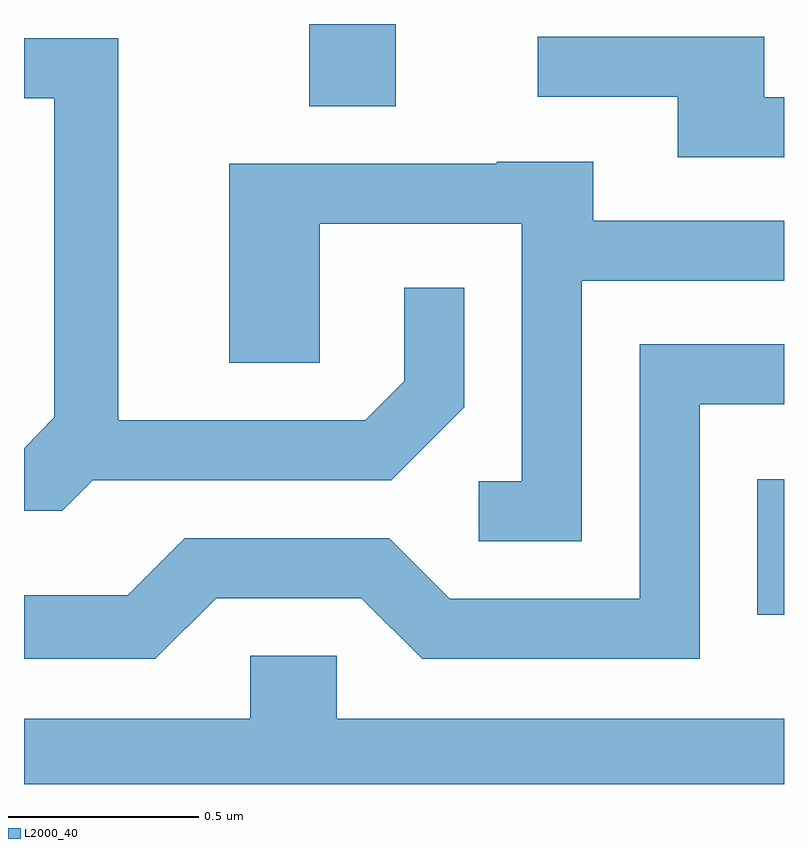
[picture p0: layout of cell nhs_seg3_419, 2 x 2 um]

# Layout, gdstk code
import gdstk
lib = gdstk.Library(unit=1e-6, precision=1e-09)
def R(c, l, rs):  # rectangles x0, y0, x1, y1
    for r in rs: c.add(gdstk.rectangle(r[:2], r[2:], *l))
def P(c, l, *ps):  # polygons
    for p in ps: c.add(gdstk.Polygon(p, *l))
L2000_40 = (2000, 40)

nhs_seg3_419 = lib.new_cell('nhs_seg3_419')
R(nhs_seg3_419, L2000_40, [(190.541,1124.338,190.611,1124.694), (189.361,1125.676,189.589,1125.892)])
P(nhs_seg3_419, L2000_40, [(190.611,1125.699),(190.559,1125.699),(190.559,1125.859),(189.963,1125.859),(189.963,1125.701),(190.331,1125.701),(190.331,1125.541),(190.611,1125.541)],
  [(188.792,1124.691),(189.577,1124.691),(189.769,1124.884),(189.769,1125.198),(189.611,1125.198),(189.611,1124.952),(189.509,1124.849),(188.859,1124.849),(188.859,1125.854),(188.611,1125.854),(188.611,1125.696),(188.691,1125.696),(188.691,1124.857),(188.611,1124.776),(188.611,1124.611),(188.712,1124.611)],
  [(190.079,1125.216),(190.611,1125.216),(190.611,1125.374),(190.109,1125.374),(190.109,1125.529),(189.855,1125.529),(189.855,1125.524),(189.151,1125.524),(189.151,1125.001),(189.389,1125.001),(189.389,1125.366),(189.921,1125.366),(189.921,1124.689),(189.808,1124.689),(189.808,1124.531),(190.079,1124.531)],
  [(189.117,1124.381),(189.499,1124.381),(189.659,1124.221),(190.389,1124.221),(190.389,1124.891),(190.611,1124.891),(190.611,1125.049),(190.231,1125.049),(190.231,1124.379),(189.732,1124.379),(189.572,1124.539),(189.034,1124.539),(188.884,1124.389),(188.611,1124.389),(188.611,1124.221),(188.957,1124.221)],
  [(190.611,1124.064),(189.434,1124.064),(189.434,1124.229),(189.206,1124.229),(189.206,1124.064),(188.611,1124.064),(188.611,1123.892),(190.611,1123.892)])

lib.write_gds('nhs_seg3_419.gds')
